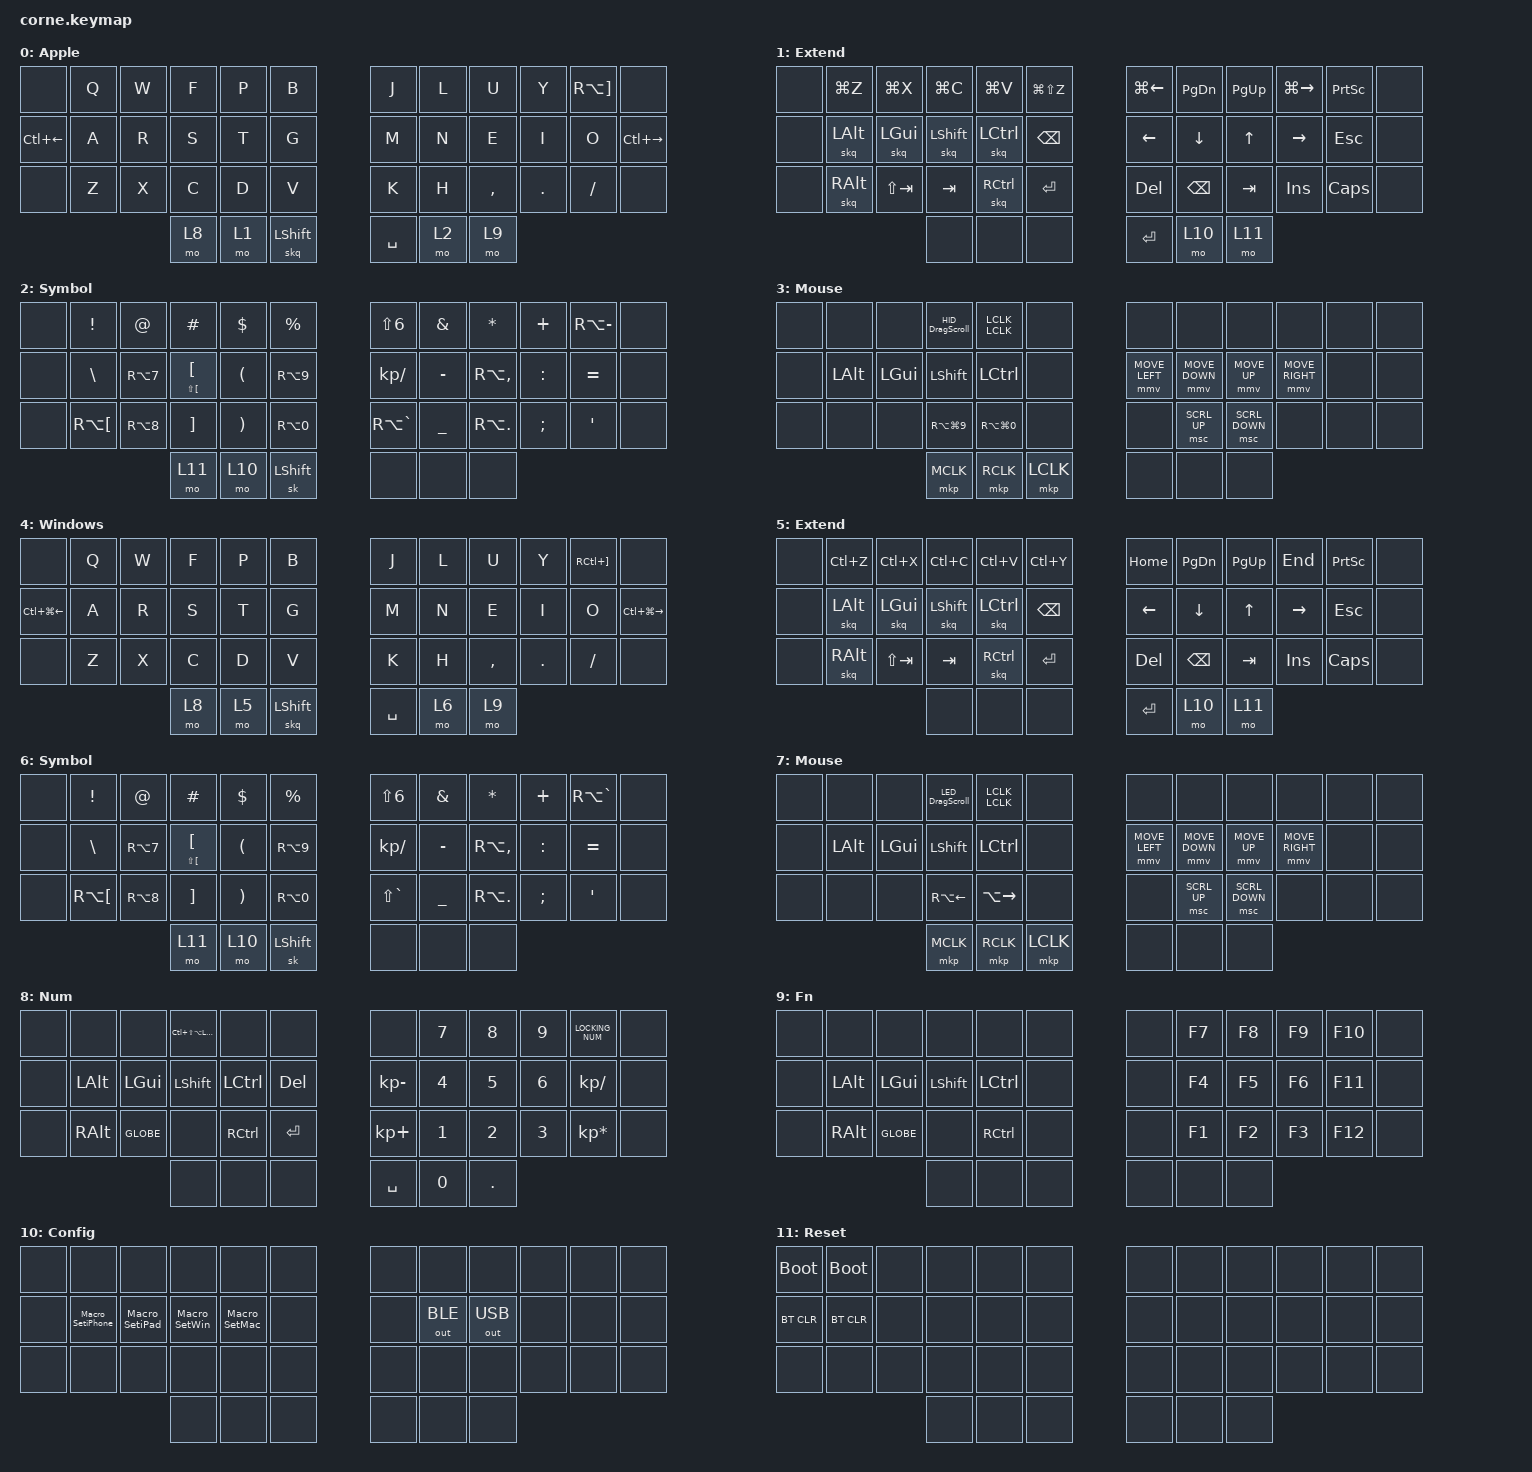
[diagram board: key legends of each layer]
#define ZMK_POINTING_DEFAULT_MOVE_VAL 1500
#define ZMK_POINTING_DEFAULT_SCRL_VAL 25

#include <behaviors.dtsi>
#include <dt-bindings/zmk/bt.h>
#include <dt-bindings/zmk/keys.h>
#include <dt-bindings/zmk/outputs.h>
#include <dt-bindings/zmk/pointing.h>

/ {
    behaviors {
        td: MyTapDance {
            compatible = "zmk,behavior-tap-dance";
            #binding-cells = <0>;
            tapping-term-ms = <200>;
            bindings = <&kp>, <&kp>;
        };

        th: MyTapHold {
            compatible = "zmk,behavior-hold-tap";
            #binding-cells = <2>;
            tapping-term-ms = <200>;
            flavor = "tap-preferred";
            bindings = <&kp>, <&kp>;
        };

        skq: MyStickyKeyQuickRelease {
            compatible = "zmk,behavior-sticky-key";
            #binding-cells = <1>;
            bindings = <&kp>;
            release-after-ms = <500>;
            quick-release;
            ignore-modifiers;
        };

        auto_mouse_layer_config {
            compatible = "zmk,behavior-auto-mouse-layer";
            mac-base-layer = <0>;
            mac-mouse-layer = <3>;
            windows-base-layer = <4>;
            windows-mouse-layer = <7>;
        };

        HID_DragScroll: HID_DragScroll {
            compatible = "zmk,behavior-raw-drag-scroll";
            #binding-cells = <0>;
        };
    };

    combos {
        compatible = "zmk,combos";

        Combo_Macro_M10 {
            bindings = <&Macro_M10>;
            key-positions = <1 25>;
            layers = <2 6>;
        };

        Combo_Macro_M11 {
            bindings = <&Macro_M11>;
            key-positions = <26 2>;
            layers = <2 6>;
        };

        Combo_Macro_M12 {
            bindings = <&Macro_M12>;
            key-positions = <33 9>;
            layers = <1 5>;
        };

        Combo_Macro_M13 {
            bindings = <&Macro_M13>;
            key-positions = <10 34>;
            layers = <1 5>;
        };

        Combo_BrightnessUp_Mac {
            bindings = <&kp LC(LS(LA(LG(F10))))>;
            key-positions = <6 18>;
            layers = <0 4>;
        };

        Combo_BrightnessDown_Mac {
            bindings = <&kp LC(LS(LA(LG(F11))))>;
            key-positions = <30 18>;
            layers = <0 4>;
        };

        Combo_BrightnessUp_Win {
            bindings = <&kp C_BRI_UP>;
            key-positions = <6 18>;
            layers = <1 5>;
        };

        Combo_BrightnessDown_Win {
            bindings = <&kp C_BRI_DN>;
            key-positions = <30 18>;
            layers = <1 5>;
        };

        Combo_VolumeUp {
            bindings = <&kp C_VOLUME_UP>;
            key-positions = <5 17>;
            layers = <0 4>;
        };

        Combo_VolumeDown {
            bindings = <&kp C_VOL_DN>;
            key-positions = <29 17>;
            layers = <0 4>;
        };

        Combo_Unlock {
            bindings = <&studio_unlock>;
            key-positions = <10 1>;
            layers = <0 4>;
        };
    };

    macros {
        // ------------------------------------------------------------- 
        // Macro for IDE (SSMS & VisualCoed)
        // ------------------------------------------------------------- 

        Macro_M00_Outline_CollapseAll: Macro_M00_Outline_CollapseAll {
            compatible = "zmk,behavior-macro";
            #binding-cells = <0>;
            bindings =
                <&macro_press>,
                <&kp LCTRL>,
                <&macro_tap>,
                <&kp M &kp A>,
                <&macro_release>,
                <&kp LCTRL>;
        };

        Macro_M01_Outline_ToggleCurrent: Macro_M01_Outline_ToggleCurrent {
            compatible = "zmk,behavior-macro";
            #binding-cells = <0>;
            bindings =
                <&macro_press>,
                <&kp LCTRL>,
                <&macro_tap>,
                <&kp M &kp M>,
                <&macro_release>,
                <&kp LCTRL>;
        };

        Macro_M02_Outline_ExpandAll: Macro_M02_Outline_ExpandAll {
            compatible = "zmk,behavior-macro";
            #binding-cells = <0>;
            bindings =
                <&macro_press>,
                <&kp LCTRL>,
                <&macro_tap>,
                <&kp M &kp L>,
                <&macro_release>,
                <&kp LCTRL>;
        };

        Macro_M03_Bookmark_Previous: Macro_M03_Bookmark_Previous {
            compatible = "zmk,behavior-macro";
            #binding-cells = <0>;
            bindings =
                <&macro_press>,
                <&kp LCTRL>,
                <&macro_tap>,
                <&kp K &kp P>,
                <&macro_release>,
                <&kp LCTRL>;
        };

        Macro_M04_Bookmark_Toggle: Macro_M04_Bookmark_Toggle {
            compatible = "zmk,behavior-macro";
            #binding-cells = <0>;
            bindings =
                <&macro_press>,
                <&kp LCTRL>,
                <&macro_tap>,
                <&kp K &kp K>,
                <&macro_release>,
                <&kp LCTRL>;
        };

        Macro_M05_Bookmark_ClearAll: Macro_M05_Bookmark_ClearAll {
            compatible = "zmk,behavior-macro";
            #binding-cells = <0>;
            bindings =
                <&macro_press>,
                <&kp LCTRL>,
                <&macro_tap>,
                <&kp K &kp L>,
                <&macro_release>,
                <&kp LCTRL>;
        };

        Macro_M06_Bookmark_Next: Macro_M06_Bookmark_Next {
            compatible = "zmk,behavior-macro";
            #binding-cells = <0>;
            bindings =
                <&macro_press>,
                <&kp LCTRL>,
                <&macro_tap>,
                <&kp K &kp N>,
                <&macro_release>,
                <&kp LCTRL>;
        };

        Macro_M07_Comment: Macro_M07_Comment {
            compatible = "zmk,behavior-macro";
            #binding-cells = <0>;
            bindings =
                <&macro_press>,
                <&kp LCTRL>,
                <&macro_tap>,
                <&kp K &kp C>,
                <&macro_release>,
                <&kp LCTRL>;
        };

        Macro_M08_UnComment: Macro_M08_UnComment {
            compatible = "zmk,behavior-macro";
            #binding-cells = <0>;
            bindings =
                <&macro_press>,
                <&kp LCTRL>,
                <&macro_tap>,
                <&kp K &kp U>,
                <&macro_release>,
                <&kp LCTRL>;
        };

        Macro_SetMac: Macro_SetMac {
            compatible = "zmk,behavior-macro";
            #binding-cells = <0>;
            wait-ms = <50>;
            bindings = <&bt BT_SEL 0 &to 0>;
        };

        Macro_SetWin: Macro_SetWin {
            compatible = "zmk,behavior-macro";
            #binding-cells = <0>;
            wait-ms = <50>;
            bindings = <&bt BT_SEL 1 &to 4>;
        };

        Macro_SetiPad: Macro_SetiPad {
            compatible = "zmk,behavior-macro";
            #binding-cells = <0>;
            wait-ms = <50>;
            bindings = <&bt BT_SEL 2 &to 0>;
        };

        Macro_SetiPhone: Macro_SetiPhone {
            compatible = "zmk,behavior-macro";
            #binding-cells = <0>;
            wait-ms = <50>;
            bindings = <&bt BT_SEL 3 &to 0>;
        };

        // ------------------------------------------------------------- 
        // Password for local stuff
        // ------------------------------------------------------------- 

        Macro_M10: Macro_M10 {
            compatible = "zmk,behavior-macro";
            #binding-cells = <0>;
            bindings = <&kp LS(K) &kp T &kp I &kp LS(A) &kp STAR &kp AMPS &kp N0 &kp E &kp N5 &kp N6 &kp U &kp UNDER &kp LS(H) &kp S &kp LS(D) &kp D &kp LS(D) &kp N5>;
        };

        Macro_M11: Macro_M11 {
            compatible = "zmk,behavior-macro";
            #binding-cells = <0>;
            bindings = <&kp AMPS &kp N9 &kp LS(P) &kp N0 &kp LS(S) &kp UNDER &kp N1 &kp E &kp U &kp LS(W) &kp COMMA &kp L &kp R &kp LS(U) &kp MINUS &kp UNDER &kp LS(N) &kp E>;
        };

        Macro_M12: Macro_M12 {
            compatible = "zmk,behavior-macro";
            #binding-cells = <0>;
            bindings = <&kp LS(N) &kp N &kp N5 &kp MINUS &kp E &kp A &kp N7 &kp POUND &kp MINUS &kp N8 &kp F &kp N &kp POUND &kp MINUS &kp N4 &kp I &kp DLLR &kp POUND>;
        };

        Macro_M13: Macro_M13 {
            compatible = "zmk,behavior-macro";
            #binding-cells = <0>;
            bindings = <&kp LS(J) &kp N5 &kp LS(R) &kp UNDER &kp N3 &kp LS(T) &kp N5 &kp UNDER &kp N5 &kp N1 &kp N4 &kp N6 &kp N3 &kp N2 &kp N2 &kp N8 &kp N1 &kp N5>;
        };

        // ------------------------------------------------------------- 
        // Mouse
        // ------------------------------------------------------------- 

        LCLK_LCLK: LCLK_LCLK {
            compatible = "zmk,behavior-macro";
            #binding-cells = <0>;
            bindings = <&mkp LCLK &mkp LCLK>;
        };

        LED_DragScroll: LED_DragScroll {
            compatible = "zmk,behavior-macro";
            #binding-cells = <0>;
            wait-ms = <0>;
            bindings =
                <&macro_tap>,
                <&kp SCROLLLOCK>,
                <&macro_pause_for_release>,
                <&macro_tap>,
                <&kp SCROLLLOCK>;
        };
    };

    /*
        Symbol      Mac — ZMK                    Mac — QMK
        -------     ----------------------       ----------------------
        ~           &kp RA(RIGHT_BRACKET)        RALT(KC_RBRC)
        /           &kp KP_DIVIDE                KC_KP_SLASH
        \           &kp RA(GRAVE)                RALT(KC_GRV)
        |           &kp RA(MINUS)                RALT(KC_MINS)


        Symbol      Win — ZMK                    Win — QMK
        -------     ----------------------       ----------------------
        ~           &kp RC(RIGHT_BRACKET)        RCTL(KC_RBRC)
        /           &kp KP_DIVIDE                KC_KP_SLASH
        \           &kp LS(GRAVE)                LSFT(KC_GRV)
        |           &kp RA(GRAVE)                RALT(KC_GRV)
*/

    keymap {
        compatible = "zmk,keymap";

        Mac_Base_Layout_0 {
            label = "Apple";
            bindings = <
&none         &kp Q  &kp W  &kp F  &kp P  &kp B          &kp J      &kp L  &kp U      &kp Y    &kp RA(RIGHT_BRACKET)  &none
&kp LC(LEFT)  &kp A  &kp R  &kp S  &kp T  &kp G          &kp M      &kp N  &kp E      &kp I    &kp O                  &kp LC(RIGHT)
&none         &kp Z  &kp X  &kp C  &kp D  &kp V          &kp K      &kp H  &kp COMMA  &kp DOT  &kp FSLH               &none
                            &mo 8  &mo 1  &skq LSHIFT    &kp SPACE  &mo 2  &mo 9
            >;
        };

        Mac_Extend_Layout_1 {
            label = "Extend";
            bindings = <
&none  &kp LG(Z)  &kp LG(X)    &kp LG(C)    &kp LG(V)   &kp LG(LS(Z))    &kp LG(LEFT)    &kp PAGE_DOWN   &kp PAGE_UP   &kp LG(RIGHT)    &kp PRINTSCREEN  &none
&none  &skq LALT  &skq LGUI    &skq LSHIFT  &skq LCTRL  &kp BACKSPACE    &kp LEFT_ARROW  &kp DOWN_ARROW  &kp UP_ARROW  &kp RIGHT_ARROW  &kp ESC          &none
&none  &skq RALT  &kp LS(TAB)  &kp TAB      &skq RCTRL  &kp RETURN       &kp DELETE      &kp BACKSPACE   &kp TAB       &kp INSERT       &kp CAPS         &none
                               &none        &none       &none            &kp RETURN      &mo 10          &mo 11
            >;
        };

        Mac_Symbol_Layout_2 {
            label = "Symbol";
            bindings = <
&none  &kp EXCL              &kp AT      &kp HASH                           &kp DOLLAR  &kp PRCNT     &kp LS(N6)     &kp AMPS   &kp ASTRK      &kp PLUS   &kp RA(MINUS)   &none
&none  &kp BACKSLASH         &kp RA(N7)  &th LS(LEFT_BRACKET) LEFT_BRACKET  &kp LPAR    &kp RA(N9)    &kp KP_DIVIDE  &kp MINUS  &kp RA(COMMA)  &kp COLON  &kp EQUAL       &none
&none  &kp RA(LEFT_BRACKET)  &kp RA(N8)  &kp RIGHT_BRACKET                  &kp RPAR    &kp RA(N0)    &kp RA(GRAVE)  &kp UNDER  &kp RA(DOT)    &kp SEMI   &kp APOSTROPHE  &none
                                         &mo 11                             &mo 10      &sk LSHIFT    &none          &none      &none
            >;
        };

        Mac_Mouse_Layout_3 {
            label = "Mouse";
            bindings = <
&none  &none     &none     &HID_DragScroll  &LCLK_LCLK      &none        &none           &none           &none           &none            &none  &none
&none  &kp LALT  &kp LGUI  &kp LSHFT        &kp LCTRL       &none        &mmv MOVE_LEFT  &mmv MOVE_DOWN  &mmv MOVE_UP    &mmv MOVE_RIGHT  &none  &none
&none  &none     &none     &kp RA(LG(N9))   &kp RA(LG(N0))  &none        &none           &msc SCRL_UP    &msc SCRL_DOWN  &none            &none  &none
                           &mkp MCLK        &mkp RCLK       &mkp LCLK    &none           &none           &none
            >;
        };

        Win_Base_Layout_4 {
            label = "Windows";
            bindings = <
&none             &kp Q  &kp W  &kp F  &kp P  &kp B          &kp J      &kp L  &kp U      &kp Y    &kp RC(RIGHT_BRACKET)  &none
&kp LC(LG(LEFT))  &kp A  &kp R  &kp S  &kp T  &kp G          &kp M      &kp N  &kp E      &kp I    &kp O                  &kp LC(LG(RIGHT))
&none             &kp Z  &kp X  &kp C  &kp D  &kp V          &kp K      &kp H  &kp COMMA  &kp DOT  &kp FSLH               &none
                                &mo 8  &mo 5  &skq LSHIFT    &kp SPACE  &mo 6  &mo 9
            >;
        };

        Win_Extend_Layout_5 {
            label = "Extend";
            bindings = <
&none  &kp LC(Z)  &kp LC(X)    &kp LC(C)    &kp LC(V)   &kp LC(Y)        &kp HOME        &kp PAGE_DOWN   &kp PAGE_UP   &kp END          &kp PRINTSCREEN  &none
&none  &skq LALT  &skq LGUI    &skq LSHIFT  &skq LCTRL  &kp BACKSPACE    &kp LEFT_ARROW  &kp DOWN_ARROW  &kp UP_ARROW  &kp RIGHT_ARROW  &kp ESC          &none
&none  &skq RALT  &kp LS(TAB)  &kp TAB      &skq RCTRL  &kp RETURN       &kp DELETE      &kp BACKSPACE   &kp TAB       &kp INSERT       &kp CAPS         &none
                               &none        &none       &none            &kp RETURN      &mo 10          &mo 11
            >;
        };

        Win_Symbol_Layout_6 {
            label = "Symbol";
            bindings = <
&none  &kp EXCL              &kp AT      &kp HASH                           &kp DOLLAR  &kp PRCNT     &kp LS(N6)     &kp AMPS   &kp ASTRK      &kp PLUS   &kp RA(GRAVE)   &none
&none  &kp BACKSLASH         &kp RA(N7)  &th LS(LEFT_BRACKET) LEFT_BRACKET  &kp LPAR    &kp RA(N9)    &kp KP_DIVIDE  &kp MINUS  &kp RA(COMMA)  &kp COLON  &kp EQUAL       &none
&none  &kp RA(LEFT_BRACKET)  &kp RA(N8)  &kp RIGHT_BRACKET                  &kp RPAR    &kp RA(N0)    &kp LS(GRAVE)  &kp UNDER  &kp RA(DOT)    &kp SEMI   &kp APOSTROPHE  &none
                                         &mo 11                             &mo 10      &sk LSHIFT    &none          &none      &none
            >;
        };

        Win_Mouse_Layout_7 {
            label = "Mouse";
            bindings = <
&none  &none     &none     &LED_DragScroll  &LCLK_LCLK     &none        &none           &none           &none           &none            &none  &none
&none  &kp LALT  &kp LGUI  &kp LSHFT        &kp LCTRL      &none        &mmv MOVE_LEFT  &mmv MOVE_DOWN  &mmv MOVE_UP    &mmv MOVE_RIGHT  &none  &none
&none  &none     &none     &kp RA(LEFT)     &kp LA(RIGHT)  &none        &none           &msc SCRL_UP    &msc SCRL_DOWN  &none            &none  &none
                           &mkp MCLK        &mkp RCLK      &mkp LCLK    &none           &none           &none
            >;
        };

        Num_Layout_8 {
            label = "Num";
            bindings = <
&none  &none     &none      &kp LC(LS(LA(LEFT_GUI)))  &none      &none      &none         &kp N7  &kp N8   &kp N9  &kp LOCKING_NUM  &none
&none  &kp LALT  &kp LGUI   &kp LSHIFT                &kp LCTRL  &kp DEL    &kp KP_MINUS  &kp N4  &kp N5   &kp N6  &kp KP_DIVIDE    &none
&none  &kp RALT  &kp GLOBE  &none                     &kp RCTRL  &kp RET    &kp KP_PLUS   &kp N1  &kp N2   &kp N3  &kp KP_MULTIPLY  &none
                            &none                     &none      &none      &kp SPACE     &kp N0  &kp DOT
            >;
        };

        Fn_Layout_9 {
            label = "Fn";
            bindings = <
&none  &none     &none      &none       &none      &none    &none  &kp F7  &kp F8  &kp F9  &kp F10  &none
&none  &kp LALT  &kp LGUI   &kp LSHIFT  &kp LCTRL  &none    &none  &kp F4  &kp F5  &kp F6  &kp F11  &none
&none  &kp RALT  &kp GLOBE  &none       &kp RCTRL  &none    &none  &kp F1  &kp F2  &kp F3  &kp F12  &none
                            &none       &none      &none    &none  &none   &none
            >;
        };

        Config_Layout_10 {
            label = "Config";
            bindings = <
&none  &none             &none           &none          &none          &none    &none  &none         &none         &none  &none  &none
&none  &Macro_SetiPhone  &Macro_SetiPad  &Macro_SetWin  &Macro_SetMac  &none    &none  &out OUT_BLE  &out OUT_USB  &none  &none  &none
&none  &none             &none           &none          &none          &none    &none  &none         &none         &none  &none  &none
                                         &none          &none          &none    &none  &none         &none
            >;
        };

        Reset_Layout_11 {
            label = "Reset";
            bindings = <
&bootloader  &bootloader  &none  &none  &none  &none    &none  &none  &none  &none  &none  &none
&bt BT_CLR   &bt BT_CLR   &none  &none  &none  &none    &none  &none  &none  &none  &none  &none
&none        &none        &none  &none  &none  &none    &none  &none  &none  &none  &none  &none
                                 &none  &none  &none    &none  &none  &none
            >;
        };
    };
};
